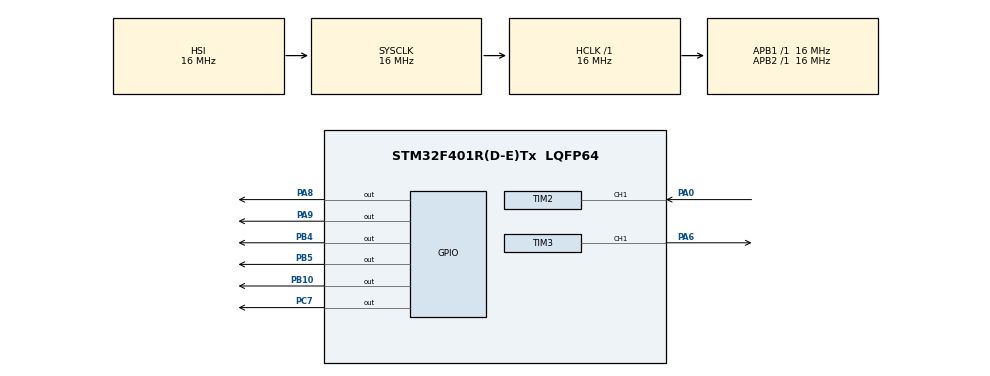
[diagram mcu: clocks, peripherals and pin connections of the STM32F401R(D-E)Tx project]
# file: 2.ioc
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Mcu.Family=STM32F4
Mcu.Name=STM32F401R(D-E)Tx
Mcu.Package=LQFP64
NVIC.PriorityGroup=NVIC_PRIORITYGROUP_4
PA0-WKUP.GPIO_PuPd=GPIO_PULLDOWN
PA0-WKUP.GPIO_Speed=GPIO_SPEED_FREQ_HIGH
PA0-WKUP.Signal=S_TIM2_CH1_ETR
PA6.Signal=S_TIM3_CH1
PA8.Signal=GPIO_Output
PA9.Signal=GPIO_Output
PB10.Signal=GPIO_Output
PB4.Signal=GPIO_Output
PB5.Signal=GPIO_Output
PC7.Signal=GPIO_Output
ProjectManager.HeapSize=0x200
ProjectManager.StackSize=0x400
ProjectManager.TargetToolchain=MDK-ARM V5.32
RCC.AHBFreq_Value=16000000
RCC.APB1Freq_Value=16000000
RCC.APB2Freq_Value=16000000
RCC.CortexFreq_Value=16000000
RCC.HSE_VALUE=25000000
RCC.HSI_VALUE=16000000
RCC.LSE_VALUE=32768
RCC.SYSCLKFreq_VALUE=16000000
RCC.VCOOutputFreq_Value=192000000
SH.S_TIM2_CH1_ETR.0=TIM2_CH1,TriggerSource_TI1FP1
SH.S_TIM3_CH1.0=TIM3_CH1,PWM Generation1 CH1
TIM2.Period=3
TIM2.Slave_TriggerFilter=15
TIM2.TIM_MasterOutputTrigger=TIM_TRGO_ENABLE
TIM2.TIM_MasterSlaveMode=TIM_MASTERSLAVEMODE_ENABLE
TIM3.Channel-PWM\ Generation1\ CH1=TIM_CHANNEL_1
TIM3.Period=1000
TIM3.Prescaler=16
TIM3.Pulse-PWM\ Generation1\ CH1=100
VP_TIM2_VS_ControllerModeClock.Mode=Clock Mode
VP_TIM3_VS_ClockSourceINT.Mode=Internal
board=custom

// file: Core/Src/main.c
/* USER CODE BEGIN Header */
/**
  ******************************************************************************
  * @file           : main.c
  * @brief          : Main program body
  ******************************************************************************
  * @attention
  *
  * Copyright (c) 2022 STMicroelectronics.
  * All rights reserved.
  *
  * This software is licensed under terms that can be found in the LICENSE file
  * in the root directory of this software component.
  * If no LICENSE file comes with this software, it is provided AS-IS.
  *
  ******************************************************************************
  */
/* USER CODE END Header */
#include "main.h"
#define RS 0x20     /* Pin mask for reg select (pin 5) */
#define RW 0x40     /* Pin mask for read/write (pin 6) */
#define EN 0x80     /* Pin mask for enable     (pin 7) */

 TIM_HandleTypeDef htim2;
TIM_HandleTypeDef htim3;

void SystemClock_Config(void);
static void MX_GPIO_Init(void);
static void MX_TIM3_Init(void);
static void MX_TIM2_Init(void);
/* USER CODE BEGIN PFP */
void delayMs(int n);
void LCD_command(unsigned char command);
void LCD_data(char data);
void LCD_init(void);
/* USER CODE END PFP */

/* USER CODE BEGIN 0 */
void LCD_nibble_write(char data, unsigned long control) {

	GPIOC->BSRR = 0xFFFF0000;
	GPIOA->BSRR = 0xFFEF0000;
	GPIOB->BSRR = 0xFFFF0000;

	if ( data & 0x10)
		GPIOB->BSRR = 0x00000020;
	if ( data & 0x20)
		GPIOB->BSRR = 0x00000010;
	if ( data & 0x40)
		GPIOB->BSRR = 0x00000400;

	if ( data & 0x80)
		GPIOA->BSRR = 0x00000100;

	 if (control & RS)
       GPIOA->BSRR = 0x00000200;
    else
       GPIOA->BSRR = 0x02000000;

		/* pulse E */
   GPIOC->BSRR = 0x00000080;
   delayMs(2);
   GPIOC->BSRR =  0x00800000;
}
void LCD_command(unsigned char command) {
    LCD_nibble_write(command & 0xF0, 0);    /* upper nibble first */
    LCD_nibble_write(command << 4, 0);      /* then lower nibble */

    if (command < 4)
        delayMs(2);         /* command 1 and 2 needs up to 1.64ms */
    else
        delayMs(1);         /* all others 40 us */
}
void LCD_data(char data) {
    LCD_nibble_write(data & 0xF0, RS);      /* upper nibble first */
    LCD_nibble_write(data << 4, RS);        /* then lower nibble */

    delayMs(1);
}
void LCD_init(void) {
    delayMs(20);                /* LCD controller reset sequence */
    LCD_nibble_write(0x30, 0);
    delayMs(5);
    LCD_nibble_write(0x30, 0);
    delayMs(1);
    LCD_nibble_write(0x30, 0);
    delayMs(1);
    LCD_nibble_write(0x20, 0);  /* use 4-bit data mode */
    delayMs(1);
    LCD_command(0x28);          /* set 4-bit data, 2-line, 5x7 font */
    LCD_command(0x06);          /* move cursor right */
    LCD_command(0x01);           /* clear screen, move cursor to home */
    LCD_command(0x0F);          /* turn on display, cursor blinking */
}
void LCD_clear(){
LCD_command(1);
}
void write(int i){
LCD_clear();
LCD_data('D');
LCD_data('U');
LCD_data('T');
LCD_data('Y');
LCD_data('C');
LCD_data('Y');
LCD_data('C');
LCD_data('L');
LCD_data('E');
LCD_data(':');
LCD_data(' ');
LCD_data('0'+i);
LCD_data('0');
LCD_data('%');
}

void delayMs(int n) {
		int j;
    int i;
    for (; n>0; n--)
        for (i = 0; i < 3195; i++) {}
}

char* convertIntegerToChar(uint32_t N)
{
    int m = N;
    int digit = 0;
    while (m) {
        digit++;

        m /= 10;
    }
    char* arr;
    char arr1[digit];
    arr = (char*)malloc(digit);
    int index = 0;
    while (N) {
        arr1[++index] = N % 10 + '0';

        N /= 10;
    }
		    int i;
    for (i = 0; i < index; i++) {
        arr[i] = arr1[index - i];
    }
    arr[i] = '\0';
    return (char*)arr;
}
/* USER CODE END 0 */

int main(void)
{

  /* MCU Configuration--------------------------------------------------------*/

  /* Reset of all peripherals, Initializes the Flash interface and the Systick. */
  HAL_Init();

  /* Configure the system clock */
  SystemClock_Config();

  /* Initialize all configured peripherals */
  MX_GPIO_Init();
  MX_TIM3_Init();
  MX_TIM2_Init();
  /* USER CODE BEGIN 2 */
	HAL_TIM_Base_Start_IT(&htim2);
	HAL_TIM_PWM_Start(&htim3,TIM_CHANNEL_1);
	int counter = 0;
	LCD_init();
	htim3.Instance->CCR1 = 1000*0.1;
	write(1);
  /* USER CODE END 2 */

  /* Infinite loop */
  /* USER CODE BEGIN WHILE */

    /* USER CODE BEGIN 3 */
			int count=0;
  while (1)
  {
			while(count ==__HAL_TIM_GetCounter(&htim2));
			count=__HAL_TIM_GetCounter(&htim2);
		  if (count==0){
			htim3.Instance->CCR1 = 1000*0.1;
			write(1);
}
			if (count==1){
			htim3.Instance->CCR1 = 1000*0.3;
			write(3);
}
			if (count==2){
			htim3.Instance->CCR1 = 1000*0.5;
			write(5);
}
			if (count==3){
			htim3.Instance->CCR1 = 1000*0.9;
			write(9);
}
  }
  /* USER CODE END 3 */
}

void SystemClock_Config(void)
{
  RCC_OscInitTypeDef RCC_OscInitStruct = {0};
  RCC_ClkInitTypeDef RCC_ClkInitStruct = {0};

  /** Configure the main internal regulator output voltage
  */
  __HAL_RCC_PWR_CLK_ENABLE();
  __HAL_PWR_VOLTAGESCALING_CONFIG(PWR_REGULATOR_VOLTAGE_SCALE2);

  /** Initializes the RCC Oscillators according to the specified parameters
  * in the RCC_OscInitTypeDef structure.
  */
  RCC_OscInitStruct.OscillatorType = RCC_OSCILLATORTYPE_HSI;
  RCC_OscInitStruct.HSIState = RCC_HSI_ON;
  RCC_OscInitStruct.HSICalibrationValue = RCC_HSICALIBRATION_DEFAULT;
  RCC_OscInitStruct.PLL.PLLState = RCC_PLL_NONE;
  if (HAL_RCC_OscConfig(&RCC_OscInitStruct) != HAL_OK)
  {
    Error_Handler();
  }

  /** Initializes the CPU, AHB and APB buses clocks
  */
  RCC_ClkInitStruct.ClockType = RCC_CLOCKTYPE_HCLK|RCC_CLOCKTYPE_SYSCLK
                              |RCC_CLOCKTYPE_PCLK1|RCC_CLOCKTYPE_PCLK2;
  RCC_ClkInitStruct.SYSCLKSource = RCC_SYSCLKSOURCE_HSI;
  RCC_ClkInitStruct.AHBCLKDivider = RCC_SYSCLK_DIV1;
  RCC_ClkInitStruct.APB1CLKDivider = RCC_HCLK_DIV1;
  RCC_ClkInitStruct.APB2CLKDivider = RCC_HCLK_DIV1;

  if (HAL_RCC_ClockConfig(&RCC_ClkInitStruct, FLASH_LATENCY_0) != HAL_OK)
  {
    Error_Handler();
  }
}

static void MX_TIM2_Init(void)
{

  TIM_SlaveConfigTypeDef sSlaveConfig = {0};
  TIM_MasterConfigTypeDef sMasterConfig = {0};

  htim2.Instance = TIM2;
  htim2.Init.Prescaler = 0;
  htim2.Init.CounterMode = TIM_COUNTERMODE_UP;
  htim2.Init.Period = 3;
  htim2.Init.ClockDivision = TIM_CLOCKDIVISION_DIV1;
  htim2.Init.AutoReloadPreload = TIM_AUTORELOAD_PRELOAD_DISABLE;
  if (HAL_TIM_Base_Init(&htim2) != HAL_OK)
  {
    Error_Handler();
  }
  sSlaveConfig.SlaveMode = TIM_SLAVEMODE_EXTERNAL1;
  sSlaveConfig.InputTrigger = TIM_TS_TI1FP1;
  sSlaveConfig.TriggerPolarity = TIM_TRIGGERPOLARITY_RISING;
  sSlaveConfig.TriggerFilter = 15;
  if (HAL_TIM_SlaveConfigSynchro(&htim2, &sSlaveConfig) != HAL_OK)
  {
    Error_Handler();
  }
  sMasterConfig.MasterOutputTrigger = TIM_TRGO_ENABLE;
  sMasterConfig.MasterSlaveMode = TIM_MASTERSLAVEMODE_ENABLE;
  if (HAL_TIMEx_MasterConfigSynchronization(&htim2, &sMasterConfig) != HAL_OK)
  {
    Error_Handler();
  }

}

static void MX_TIM3_Init(void)
{

  TIM_ClockConfigTypeDef sClockSourceConfig = {0};
  TIM_MasterConfigTypeDef sMasterConfig = {0};
  TIM_OC_InitTypeDef sConfigOC = {0};

  htim3.Instance = TIM3;
  htim3.Init.Prescaler = 16;
  htim3.Init.CounterMode = TIM_COUNTERMODE_UP;
  htim3.Init.Period = 1000;
  htim3.Init.ClockDivision = TIM_CLOCKDIVISION_DIV1;
  htim3.Init.AutoReloadPreload = TIM_AUTORELOAD_PRELOAD_DISABLE;
  if (HAL_TIM_Base_Init(&htim3) != HAL_OK)
  {
    Error_Handler();
  }
  sClockSourceConfig.ClockSource = TIM_CLOCKSOURCE_INTERNAL;
  if (HAL_TIM_ConfigClockSource(&htim3, &sClockSourceConfig) != HAL_OK)
  {
    Error_Handler();
  }
  if (HAL_TIM_PWM_Init(&htim3) != HAL_OK)
  {
    Error_Handler();
  }
  sMasterConfig.MasterOutputTrigger = TIM_TRGO_RESET;
  sMasterConfig.MasterSlaveMode = TIM_MASTERSLAVEMODE_DISABLE;
  if (HAL_TIMEx_MasterConfigSynchronization(&htim3, &sMasterConfig) != HAL_OK)
  {
    Error_Handler();
  }
  sConfigOC.OCMode = TIM_OCMODE_PWM1;
  sConfigOC.Pulse = 100;
  sConfigOC.OCPolarity = TIM_OCPOLARITY_HIGH;
  sConfigOC.OCFastMode = TIM_OCFAST_DISABLE;
  if (HAL_TIM_PWM_ConfigChannel(&htim3, &sConfigOC, TIM_CHANNEL_1) != HAL_OK)
  {
    Error_Handler();
  }
  HAL_TIM_MspPostInit(&htim3);

}

static void MX_GPIO_Init(void)
{
  GPIO_InitTypeDef GPIO_InitStruct = {0};

  /* GPIO Ports Clock Enable */
  __HAL_RCC_GPIOA_CLK_ENABLE();
  __HAL_RCC_GPIOB_CLK_ENABLE();
  __HAL_RCC_GPIOC_CLK_ENABLE();

  /*Configure GPIO pin Output Level */
  HAL_GPIO_WritePin(GPIOB, GPIO_PIN_10|GPIO_PIN_4|GPIO_PIN_5, GPIO_PIN_RESET);

  /*Configure GPIO pin Output Level */
  HAL_GPIO_WritePin(GPIOC, GPIO_PIN_7, GPIO_PIN_RESET);

  /*Configure GPIO pin Output Level */
  HAL_GPIO_WritePin(GPIOA, GPIO_PIN_8|GPIO_PIN_9, GPIO_PIN_RESET);

  /*Configure GPIO pins : PB10 PB4 PB5 */
  GPIO_InitStruct.Pin = GPIO_PIN_10|GPIO_PIN_4|GPIO_PIN_5;
  GPIO_InitStruct.Mode = GPIO_MODE_OUTPUT_PP;
  GPIO_InitStruct.Pull = GPIO_NOPULL;
  GPIO_InitStruct.Speed = GPIO_SPEED_FREQ_LOW;
  HAL_GPIO_Init(GPIOB, &GPIO_InitStruct);

  /*Configure GPIO pin : PC7 */
  GPIO_InitStruct.Pin = GPIO_PIN_7;
  GPIO_InitStruct.Mode = GPIO_MODE_OUTPUT_PP;
  GPIO_InitStruct.Pull = GPIO_NOPULL;
  GPIO_InitStruct.Speed = GPIO_SPEED_FREQ_LOW;
  HAL_GPIO_Init(GPIOC, &GPIO_InitStruct);

  /*Configure GPIO pins : PA8 PA9 */
  GPIO_InitStruct.Pin = GPIO_PIN_8|GPIO_PIN_9;
  GPIO_InitStruct.Mode = GPIO_MODE_OUTPUT_PP;
  GPIO_InitStruct.Pull = GPIO_NOPULL;
  GPIO_InitStruct.Speed = GPIO_SPEED_FREQ_LOW;
  HAL_GPIO_Init(GPIOA, &GPIO_InitStruct);

}

void Error_Handler(void)
{
  __disable_irq();
  while (1)
  {
  }
}
